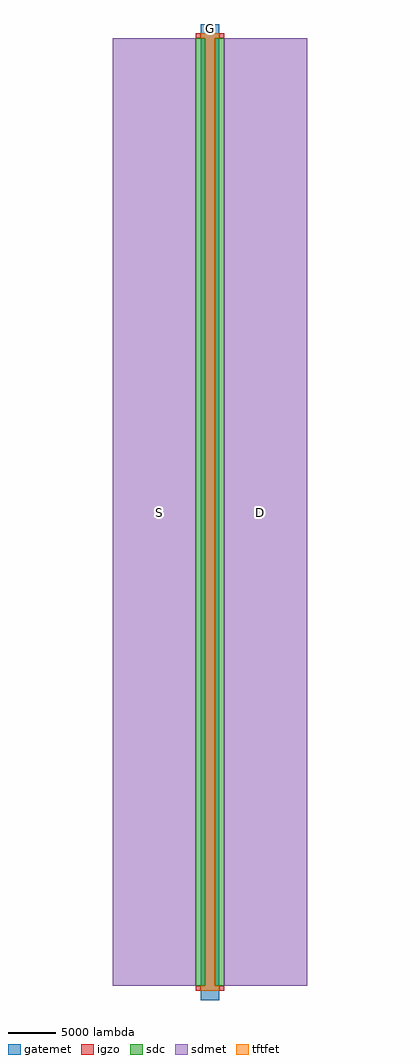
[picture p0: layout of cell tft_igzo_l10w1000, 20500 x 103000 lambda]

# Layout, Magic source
magic
tech igzo_mmm_lab
<< igzo >>
rect -1500 50000 -1000 50500
rect 1000 50000 1500 50500
rect -1500 -50500 -1000 -50000
rect 1000 -50500 1500 -50000
<< tftfet >>
rect -1000 50000 1000 50500
rect -500 -50000 500 50000
rect -1000 -50500 1000 -50000
<< sdc >>
rect -1500 -50000 -500 50000
rect 500 -50000 1500 50000
<< sdmet >>
rect -10250 -50000 -1500 50000
rect 1500 -50000 10250 50000
<< gatemet >>
rect -1000 -51500 1000 51500
<< labels >>
rlabel sdmet s -5863 -488 -4887 488 4 S
port 3 nsew
rlabel sdmet s 4887 -488 5863 488 4 D
port 5 nsew
rlabel gatemet s -488 50512 488 51488 4 G
port 7 nsew
<< end >>
